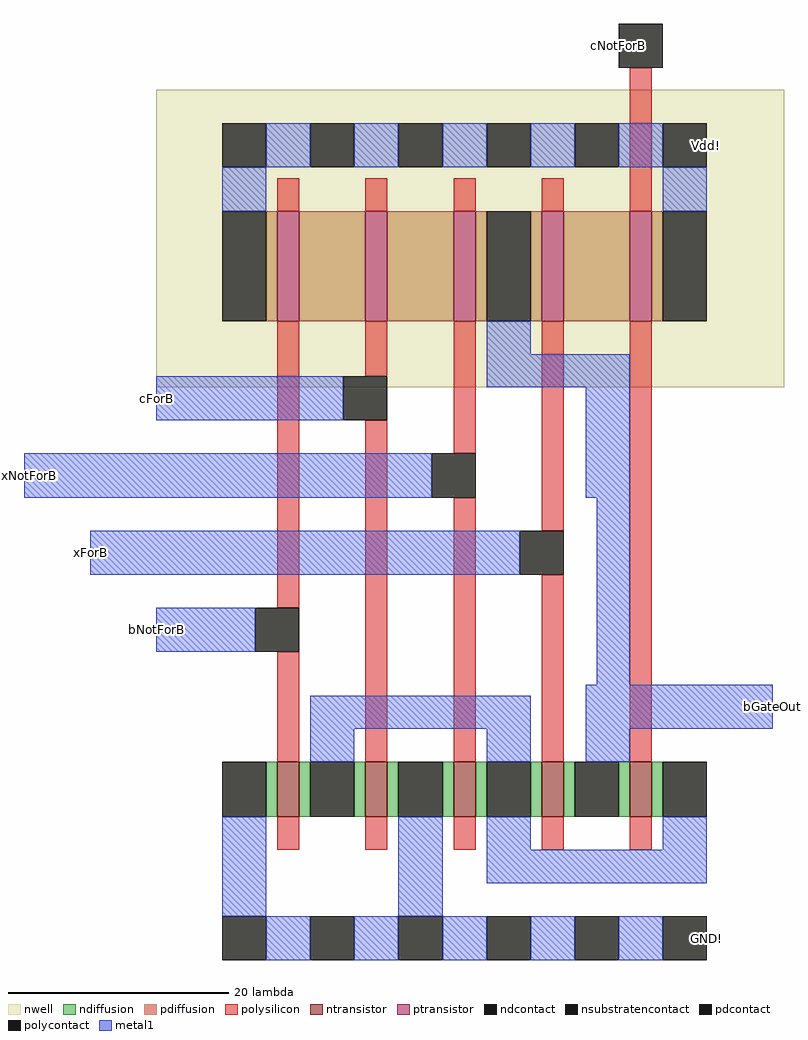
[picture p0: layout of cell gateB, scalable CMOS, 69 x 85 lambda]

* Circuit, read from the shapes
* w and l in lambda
.subckt gateB GND! Vdd! bGateOut bNotForB cForB cNotForB xForB xNotForB
M1 n1 bNotForB GND! VSUBS nfet w=5 l=2
M2 GND! cForB n1 VSUBS nfet w=5 l=2
M3 n1 xNotForB GND! VSUBS nfet w=5 l=2
M4 bGateOut xForB n1 VSUBS nfet w=5 l=2
M5 n1 cNotForB bGateOut VSUBS nfet w=5 l=2
M6 n2 bNotForB Vdd! Vdd! pfet w=10 l=2
M7 n3 cForB n2 Vdd! pfet w=10 l=2
M8 bGateOut xNotForB n3 Vdd! pfet w=10 l=2
M9 n4 xForB bGateOut Vdd! pfet w=10 l=2
M10 Vdd! cNotForB n4 Vdd! pfet w=10 l=2
.ends

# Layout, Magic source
magic
tech scmos
<< nwell >>
rect 78 291 135 318
<< ntransistor >>
rect 89 252 91 257
rect 97 252 99 257
rect 105 252 107 257
rect 113 252 115 257
rect 121 252 123 257
<< ptransistor >>
rect 89 297 91 307
rect 97 297 99 307
rect 105 297 107 307
rect 113 297 115 307
rect 121 297 123 307
<< ndiffusion >>
rect 88 252 89 257
rect 91 252 92 257
rect 96 252 97 257
rect 99 252 100 257
rect 104 252 105 257
rect 107 252 108 257
rect 112 252 113 257
rect 115 252 116 257
rect 120 252 121 257
rect 123 252 124 257
<< pdiffusion >>
rect 88 297 89 307
rect 91 297 97 307
rect 99 297 105 307
rect 107 297 108 307
rect 112 297 113 307
rect 115 297 121 307
rect 123 297 124 307
<< ndcontact >>
rect 84 252 88 257
rect 92 252 96 257
rect 100 252 104 257
rect 108 252 112 257
rect 116 252 120 257
rect 124 252 128 257
<< pdcontact >>
rect 84 297 88 307
rect 108 297 112 307
rect 124 297 128 307
<< nsubstratencontact >>
rect 84 311 88 315
rect 92 311 96 315
rect 100 311 104 315
rect 108 311 112 315
rect 116 311 120 315
rect 124 311 128 315
rect 84 239 88 243
rect 92 239 96 243
rect 100 239 104 243
rect 108 239 112 243
rect 116 239 120 243
rect 124 239 128 243
<< polysilicon >>
rect 89 307 91 310
rect 97 307 99 310
rect 105 307 107 310
rect 113 307 115 310
rect 121 307 123 320
rect 89 271 91 297
rect 97 292 99 297
rect 89 257 91 267
rect 97 257 99 288
rect 105 285 107 297
rect 105 257 107 281
rect 113 278 115 297
rect 113 257 115 274
rect 121 257 123 297
rect 89 249 91 252
rect 97 249 99 252
rect 105 249 107 252
rect 113 249 115 252
rect 121 249 123 252
<< polycontact >>
rect 120 320 124 324
rect 95 288 99 292
rect 87 267 91 271
rect 103 281 107 285
rect 111 274 115 278
<< metal1 >>
rect 88 311 92 315
rect 96 311 100 315
rect 104 311 108 315
rect 112 311 116 315
rect 120 311 124 315
rect 84 307 88 311
rect 124 307 128 311
rect 108 294 112 297
rect 78 288 95 292
rect 108 291 121 294
rect 66 281 103 285
rect 117 281 121 291
rect 72 274 111 278
rect 78 267 87 271
rect 118 264 121 281
rect 92 260 112 263
rect 92 257 96 260
rect 108 257 112 260
rect 117 260 134 264
rect 117 257 121 260
rect 84 243 88 252
rect 100 243 104 252
rect 108 249 112 252
rect 124 249 128 252
rect 108 246 128 249
rect 88 239 92 243
rect 96 239 100 243
rect 104 239 108 243
rect 112 239 116 243
rect 120 239 124 243
<< labels >>
rlabel nsubstratencontact 128 311 128 315 1 Vdd!
rlabel nsubstratencontact 128 239 128 243 1 GND!
rlabel metal1 78 288 78 292 1 cForB
rlabel polycontact 120 320 120 324 1 cNotForB
rlabel metal1 66 281 66 285 3 xNotForB
rlabel metal1 72 274 72 278 1 xForB
rlabel metal1 78 267 78 271 1 bNotForB
rlabel metal1 134 260 134 264 7 bGateOut
<< end >>
